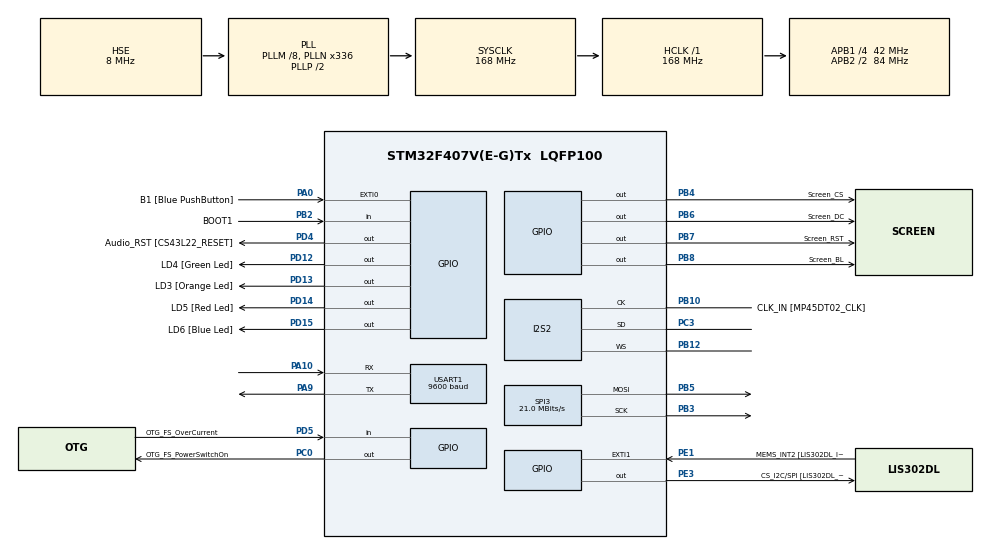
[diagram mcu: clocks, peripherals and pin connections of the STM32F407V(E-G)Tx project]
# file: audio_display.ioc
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Dma.Request0=SPI2_RX
Dma.Request1=SPI3_TX
Dma.SPI2_RX.0.Direction=DMA_PERIPH_TO_MEMORY
Dma.SPI2_RX.0.FIFOMode=DMA_FIFOMODE_DISABLE
Dma.SPI2_RX.0.Instance=DMA1_Stream3
Dma.SPI2_RX.0.MemDataAlignment=DMA_MDATAALIGN_BYTE
Dma.SPI2_RX.0.MemInc=DMA_MINC_ENABLE
Dma.SPI2_RX.0.Mode=DMA_CIRCULAR
Dma.SPI2_RX.0.PeriphDataAlignment=DMA_PDATAALIGN_BYTE
Dma.SPI2_RX.0.PeriphInc=DMA_PINC_DISABLE
Dma.SPI2_RX.0.Priority=DMA_PRIORITY_LOW
Dma.SPI3_TX.1.Direction=DMA_MEMORY_TO_PERIPH
Dma.SPI3_TX.1.FIFOMode=DMA_FIFOMODE_DISABLE
Dma.SPI3_TX.1.Instance=DMA1_Stream5
Dma.SPI3_TX.1.MemDataAlignment=DMA_MDATAALIGN_HALFWORD
Dma.SPI3_TX.1.MemInc=DMA_MINC_ENABLE
Dma.SPI3_TX.1.Mode=DMA_NORMAL
Dma.SPI3_TX.1.PeriphDataAlignment=DMA_PDATAALIGN_HALFWORD
Dma.SPI3_TX.1.PeriphInc=DMA_PINC_DISABLE
Dma.SPI3_TX.1.Priority=DMA_PRIORITY_LOW
FREERTOS.Tasks01=defaultTask,24,128,StartDefaultTask,Default,NULL,Dynamic,NULL,NULL
FREERTOS.configUSE_NEWLIB_REENTRANT=1
I2S2.CPOL=I2S_CPOL_HIGH
I2S2.ErrorAudioFreq=0.0 %
I2S2.FullDuplexMode=I2S_FULLDUPLEXMODE_DISABLE
I2S2.Instance=SPI$Index
I2S2.Mode=I2S_MODE_MASTER_RX
I2S2.RealAudioFreq=8.0 KHz
I2S2.Standard=I2S_STANDARD_PHILIPS
I2S2.VirtualMode=I2S_MODE_MASTER
Mcu.Family=STM32F4
Mcu.Name=STM32F407V(E-G)Tx
Mcu.Package=LQFP100
NVIC.DMA1_Stream3_IRQn=true\:5\:0\:false\:false\:true\:true\:false\:true\:true
NVIC.DMA1_Stream5_IRQn=true\:5\:0\:false\:false\:true\:true\:false\:true\:true
NVIC.PriorityGroup=NVIC_PRIORITYGROUP_4
NVIC.SPI2_IRQn=true\:5\:0\:false\:false\:true\:true\:true\:true\:true
NVIC.SPI3_IRQn=true\:5\:0\:false\:false\:true\:true\:true\:true\:true
NVIC.TIM6_DAC_IRQn=true\:15\:0\:false\:false\:true\:false\:false\:true\:true
NVIC.TimeBase=TIM6_DAC_IRQn
NVIC.TimeBaseIP=TIM6
PA0-WKUP.GPIO_Label=B1 [Blue PushButton]
PA0-WKUP.GPIO_ModeDefaultEXTI=GPIO_MODE_EVT_RISING
PA0-WKUP.GPIO_PuPd=GPIO_NOPULL
PA0-WKUP.Signal=GPXTI0
PA10.Mode=Asynchronous
PA10.Signal=USART1_RX
PA13.GPIO_Label=SWDIO
PA13.Mode=Serial_Wire
PA13.Signal=SYS_JTMS-SWDIO
PA14.GPIO_Label=SWCLK
PA14.Mode=Serial_Wire
PA14.Signal=SYS_JTCK-SWCLK
PA4.GPIO_Label=I2S3_WS [CS43L22_LRCK]
PA4.GPIO_Mode=GPIO_MODE_AF_PP
PA4.GPIO_PuPd=GPIO_NOPULL
PA4.GPIO_Speed=GPIO_SPEED_FREQ_LOW
PA4.Signal=I2S3_WS
PA9.Mode=Asynchronous
PA9.Signal=USART1_TX
PB10.GPIO_Label=CLK_IN [MP45DT02_CLK]
PB10.GPIO_Mode=GPIO_MODE_AF_PP
PB10.GPIO_PuPd=GPIO_NOPULL
PB10.GPIO_Speed=GPIO_SPEED_FREQ_LOW
PB10.Mode=Half_Duplex_Master
PB10.Signal=I2S2_CK
PB12.Mode=Half_Duplex_Master
PB12.Signal=I2S2_WS
PB2.GPIO_Label=BOOT1
PB2.GPIO_Mode=GPIO_MODE_INPUT
PB2.GPIO_PuPd=GPIO_NOPULL
PB2.Signal=GPIO_Input
PB3.Mode=TX_Only_Simplex_Unidirect_Master
PB3.Signal=SPI3_SCK
PB4.GPIO_Label=Screen_CS
PB4.Signal=GPIO_Output
PB5.Mode=TX_Only_Simplex_Unidirect_Master
PB5.Signal=SPI3_MOSI
PB6.GPIO_Label=Screen_DC
PB6.Signal=GPIO_Output
PB7.GPIO_Label=Screen_RST
PB7.Signal=GPIO_Output
PB8.GPIO_Label=Screen_BL
PB8.Signal=GPIO_Output
PC0.GPIO_Label=OTG_FS_PowerSwitchOn
PC0.GPIO_PuPd=GPIO_NOPULL
PC0.GPIO_Speed=GPIO_SPEED_FREQ_LOW
PC0.PinState=GPIO_PIN_SET
PC0.Signal=GPIO_Output
PC10.GPIO_Label=I2S3_SCK [CS43L22_SCLK]
PC10.GPIO_Mode=GPIO_MODE_AF_PP
PC10.GPIO_PuPd=GPIO_NOPULL
PC10.GPIO_Speed=GPIO_SPEED_FREQ_LOW
PC10.Signal=I2S3_CK
PC12.GPIO_Label=I2S3_SD [CS43L22_SDIN]
PC12.GPIO_Mode=GPIO_MODE_AF_PP
PC12.GPIO_PuPd=GPIO_NOPULL
PC12.GPIO_Speed=GPIO_SPEED_FREQ_LOW
PC12.Signal=I2S3_SD
PC14-OSC32_IN.GPIO_Label=PC14-OSC32_IN
PC14-OSC32_IN.Mode=LSE-External-Oscillator
PC14-OSC32_IN.Signal=RCC_OSC32_IN
PC15-OSC32_OUT.GPIO_Label=PC15-OSC32_OUT
PC15-OSC32_OUT.Mode=LSE-External-Oscillator
PC15-OSC32_OUT.Signal=RCC_OSC32_OUT
PC3.Mode=Half_Duplex_Master
PC3.Signal=I2S2_SD
PC7.GPIO_Label=I2S3_MCK [CS43L22_MCLK]
PC7.GPIO_Mode=GPIO_MODE_AF_PP
PC7.GPIO_PuPd=GPIO_NOPULL
PC7.GPIO_Speed=GPIO_SPEED_FREQ_LOW
PC7.Signal=I2S3_MCK
PD12.GPIO_Label=LD4 [Green Led]
PD12.GPIO_PuPd=GPIO_NOPULL
PD12.GPIO_Speed=GPIO_SPEED_FREQ_LOW
PD12.Signal=GPIO_Output
PD13.GPIO_Label=LD3 [Orange Led]
PD13.GPIO_PuPd=GPIO_NOPULL
PD13.GPIO_Speed=GPIO_SPEED_FREQ_LOW
PD13.Signal=GPIO_Output
PD14.GPIO_Label=LD5 [Red Led]
PD14.GPIO_PuPd=GPIO_NOPULL
PD14.GPIO_Speed=GPIO_SPEED_FREQ_LOW
PD14.Signal=GPIO_Output
PD15.GPIO_Label=LD6 [Blue Led]
PD15.GPIO_PuPd=GPIO_NOPULL
PD15.GPIO_Speed=GPIO_SPEED_FREQ_LOW
PD15.Signal=GPIO_Output
PD4.GPIO_Label=Audio_RST [CS43L22_RESET]
PD4.GPIO_PuPd=GPIO_NOPULL
PD4.GPIO_Speed=GPIO_SPEED_FREQ_LOW
PD4.Signal=GPIO_Output
PD5.GPIO_Label=OTG_FS_OverCurrent
PD5.GPIO_Mode=GPIO_MODE_INPUT
PD5.GPIO_PuPd=GPIO_NOPULL
PD5.Signal=GPIO_Input
PDM2PCM.CHANNEL1_in_ptr_channels=1
PDM2PCM.CHANNEL1_out_ptr_channels=1
PDM2PCM.CHANNEL1_output_samples_number=32
PE1.GPIO_Label=MEMS_INT2 [LIS302DL_INT2]
PE1.GPIO_ModeDefaultEXTI=GPIO_MODE_EVT_RISING
PE1.GPIO_PuPd=GPIO_NOPULL
PE1.Signal=GPXTI1
PE3.GPIO_Label=CS_I2C/SPI [LIS302DL_CS_I2C/SPI]
PE3.GPIO_PuPd=GPIO_NOPULL
PE3.GPIO_Speed=GPIO_SPEED_FREQ_LOW
PE3.Signal=GPIO_Output
PH0-OSC_IN.GPIO_Label=PH0-OSC_IN
PH0-OSC_IN.Mode=HSE-External-Oscillator
PH0-OSC_IN.Signal=RCC_OSC_IN
PH1-OSC_OUT.GPIO_Label=PH1-OSC_OUT
PH1-OSC_OUT.Mode=HSE-External-Oscillator
PH1-OSC_OUT.Signal=RCC_OSC_OUT
ProjectManager.HeapSize=0x200
ProjectManager.StackSize=0x400
ProjectManager.TargetToolchain=STM32CubeIDE
RCC.48MHZClocksFreq_Value=48000000
RCC.AHBFreq_Value=168000000
RCC.APB1CLKDivider=RCC_HCLK_DIV4
RCC.APB1Freq_Value=42000000
RCC.APB1TimFreq_Value=84000000
RCC.APB2CLKDivider=RCC_HCLK_DIV2
RCC.APB2Freq_Value=84000000
RCC.APB2TimFreq_Value=168000000
RCC.CortexFreq_Value=168000000
RCC.HCLKFreq_Value=168000000
RCC.HSE_VALUE=8000000
RCC.HSI_VALUE=16000000
RCC.PLLM=8
RCC.PLLN=336
RCC.PLLQ=7
RCC.PLLSourceVirtual=RCC_PLLSOURCE_HSE
RCC.SYSCLKFreq_VALUE=168000000
RCC.SYSCLKSource=RCC_SYSCLKSOURCE_PLLCLK
RCC.VCOOutputFreq_Value=336000000
SPI3.BaudRatePrescaler=SPI_BAUDRATEPRESCALER_2
SPI3.CalculateBaudRate=21.0 MBits/s
SPI3.DataSize=SPI_DATASIZE_8BIT
SPI3.Direction=SPI_DIRECTION_2LINES
SPI3.Mode=SPI_MODE_MASTER
SPI3.VirtualType=VM_MASTER
USART1.BaudRate=9600
USART1.VirtualMode=VM_ASYNC
VP_CRC_VS_CRC.Mode=CRC_Activate
VP_FREERTOS_VS_CMSIS_V2.Mode=CMSIS_V2
VP_PDM2PCM_VS_PDM2PCM.Mode=PDM2PCM_Channel
VP_SYS_VS_tim6.Mode=TIM6
board=STM32F407G-DISC1

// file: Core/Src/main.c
/* USER CODE BEGIN Header */
//https://github.com/wjklimek1/ILI9341_DMA_library
/**
  ******************************************************************************
  * @file           : main.c
  * @brief          : Main program body
  ******************************************************************************
  * @attention
  *
  * Copyright (c) 2026 STMicroelectronics.
  * All rights reserved.
  *
  * This software is licensed under terms that can be found in the LICENSE file
  * in the root directory of this software component.
  * If no LICENSE file comes with this software, it is provided AS-IS.
  *
  ******************************************************************************
  */
/* USER CODE END Header */
#include "main.h"
#include "cmsis_os.h"
#include "crc.h"
#include "dma.h"
#include "i2s.h"
#include "pdm2pcm.h"
#include "spi.h"
#include "usart.h"
#include "gpio.h"

/* USER CODE BEGIN Includes */
#include "stdio.h"
#include "ILI9341_DMA_Driver.h"
#include "arm_math.h"
/* USER CODE END Includes */

void SystemClock_Config(void);
void MX_FREERTOS_Init(void);

/* USER CODE BEGIN 0 */
//base color and line color
uint16_t BASE_COLOR = YELLOW;
uint16_t DISPLAY_COLOR = BLUE;
//TASK HANDLES
//a task to send output to the screen
TaskHandle_t xScreenTaskHandle = NULL;
//a task to communicate with the phone via bluetooth
TaskHandle_t xBTTaskHandle     = NULL;
//a task to read sensor outputs
TaskHandle_t xDataProcessHandle  = NULL;

//PDM T PCMS
extern PDM_Filter_Handler_t PDM1_filter_handler;

//SAMPLE BUFFER
#define MIC_PDM_BUFFER_TOTAL 128
#define MIC_PCM_BUFFER_TOTAL 512 //MIC_BUFFER_TOTAL / 16
volatile uint16_t pdmBuffer[MIC_PDM_BUFFER_TOTAL];
volatile int16_t pcmBuffer[MIC_PCM_BUFFER_TOTAL];
uint32_t pcmBufferNext = 0; //where to write samples next

//current mode of display (https://huggingface.co/learn/audio-course/chapter1/audio_data)
//https://source-separation.github.io/tutorial/basics/representations.html
enum display_mode_enum {SPECTOGRAM, //same as frequency bars but with range
						WAVEFORM, //sound as waveform
						FREQUENCY_BARS, //split audio into frequence ranges and show the energy in each range as a bar
						OCTAVE_BANDS, //musical octaves rather than frequency bars
						STOP};
volatile enum display_mode_enum display_mode = WAVEFORM;

//waveform settings and values
volatile uint32_t waveWaitSamples = 512; //48000/1000 = 48Hz
volatile uint32_t waveAmp = 70;
volatile int16_t minSample = INT16_MAX;
volatile int16_t maxSample = INT16_MIN;
volatile uint32_t sampleCount = 0;
volatile uint16_t screenPtr = 0;
volatile uint16_t dmaBufCol[ILI_SCREEN_HEIGHT];

//bluetooth variables
#define UART_BUFFER_SIZE 1
uint8_t UART2_rxBuffer[UART_BUFFER_SIZE];

//INTERRUPT HANDLERS

//SPI DMA interrupt
void HAL_SPI_TxCpltCallback(SPI_HandleTypeDef *hspi) {
	if (hspi->Instance == ILI_SPI_HANDLE.Instance) {
		ILI_DMA_Callback();
	}
}

//I2S DMA interrupt
void HAL_I2S_RxCpltCallback(I2S_HandleTypeDef *hi2s) {
	BaseType_t xHigherPriorityTaskWoken = pdFALSE;
	/* Cast pointer to uint32_t and send as notification value */
	xTaskNotifyFromISR(xDataProcessHandle,
	                   (uint32_t)&pdmBuffer[MIC_PDM_BUFFER_TOTAL/2],        /* first half pointer */
	                   eSetValueWithOverwrite,
	                   &xHigherPriorityTaskWoken);
	portYIELD_FROM_ISR(xHigherPriorityTaskWoken);
}

void HAL_I2S_RxHalfCpltCallback(I2S_HandleTypeDef *hi2s) {
	BaseType_t xHigherPriorityTaskWoken = pdFALSE;
		/* Cast pointer to uint32_t and send as notification value */
		xTaskNotifyFromISR(xDataProcessHandle,
		                   (uint32_t)&pdmBuffer[0],        /* first half pointer */
		                   eSetValueWithOverwrite,
		                   &xHigherPriorityTaskWoken);
		portYIELD_FROM_ISR(xHigherPriorityTaskWoken);
}

//task functions
void dataProcessTask(void * pvParameters ) {
	uint32_t ulNotifiedValue;
	while(1) {
		//wait for the data
		xTaskNotifyWait(0, 0xFFFFFFFF, &ulNotifiedValue, portMAX_DELAY);
		//process the data
		printf("data received, the address of the array is %d \n", ulNotifiedValue);
		//convert pdm to pcm for further analysis and buffer it
		//uint16_t pcmBuff[32];
		PDM_Filter((uint8_t *)ulNotifiedValue, &pcmBuffer[pcmBufferNext], &PDM1_filter_handler);
		//reset min/max
		//iterate over all newly received samples
		for (int i = 0; i < 32; i++) {
			if (pcmBuffer[pcmBufferNext + i] < minSample) {
				minSample = pcmBuffer[pcmBufferNext + i];
			} else if (pcmBuffer[pcmBufferNext + i] > maxSample) {
				maxSample = pcmBuffer[pcmBufferNext + i];
			}
		}
		//update PCM buffer index
		pcmBufferNext = (pcmBufferNext + 32) % MIC_PCM_BUFFER_TOTAL;
		//now, find min/max values for the buffer
		sampleCount += 32;
		if (sampleCount == waveWaitSamples) {
			sampleCount = 0; //update the sample count
			//wake up the screen task
			xTaskNotify(xScreenTaskHandle, 0, eSetValueWithOverwrite);
		}
	}
}

//convert from -32,768 to 32,767 range to 0-320 range
uint16_t pcmToLCD(int16_t pcm, uint32_t waveAmp) {
	uint32_t usable = 240 * waveAmp / 100;
	uint32_t offset = (240 - usable) / 2;
	return (uint16_t)(((int32_t)pcm + 32768) * usable / 65535 + offset);
}

//shift the screen leftwards
void shiftLeft() {
	screenPtr = (screenPtr + 1) % 320; //update the VSP
	ILI_Write_Command(0x37);
	ILI_Write_Data((uint8_t)((screenPtr >> 8) & 0xFF)); //first half of VSP
	ILI_Write_Data((uint8_t)((screenPtr) & 0xFF)); //second half of VSP
}

void drawWave(uint16_t minLCD, uint16_t maxLCD) {
	//first, shift the screen buffer
	shiftLeft();
	//clear and draw the column
	uint16_t colAddr = (screenPtr + 319) % 320;
	for (int i = 0; i < ILI_SCREEN_HEIGHT; i++) {
		if ((i >= minLCD) && (i <= maxLCD)) {
			dmaBufCol[i] = DISPLAY_COLOR;
		} else {
			dmaBufCol[i] = BASE_COLOR;
		}
	}
	ILI_Set_Address(colAddr, 0, 1, 240); //clear the whole column
	ILI_DMA_Load(dmaBufCol);
	//ILI_DMA_Fill(BASE_COLOR);
	//display the column
	//ILI_Set_Address(colAddr, minLCD, 1, maxLCD - minLCD); //rewrite the column
	//ILI_DMA_Fill(DISPLAY_COLOR);
}

void screenTask(void * pvParameters ) {
	uint32_t ulNotifiedValue;
	while(1) {
		//https://huggingface.co/learn/audio-course/chapter1/audio_data
		//wait for the data
		xTaskNotifyWait(0, 0xFFFFFFFF, &ulNotifiedValue, portMAX_DELAY);
		//process the data
		switch (display_mode) {
			case SPECTOGRAM:
				break;
			case WAVEFORM:
				uint16_t minLCD = pcmToLCD(minSample, waveAmp);
				uint16_t maxLCD = pcmToLCD(maxSample, waveAmp);
				drawWave(minLCD, maxLCD);
				break;
			case FREQUENCY_BARS:
				break;
			case OCTAVE_BANDS:
				break;
			case STOP:
				break;
			default:
		}
		minSample = INT16_MAX; //greatest possible value
		maxSample = INT16_MIN;
		printf("data displayed\n");
	}
}

void btTask(void *pvParameters) {
	while(1) {

	}
}

/* USER CODE END 0 */

int main(void)
{

  /* MCU Configuration--------------------------------------------------------*/

  /* Reset of all peripherals, Initializes the Flash interface and the Systick. */
  HAL_Init();

  /* Configure the system clock */
  SystemClock_Config();

  /* Initialize all configured peripherals */
  MX_GPIO_Init();
  MX_DMA_Init();
  MX_I2S2_Init();
  MX_SPI3_Init();
  MX_USART1_UART_Init();
  MX_CRC_Init();
  MX_PDM2PCM_Init();
  /* USER CODE BEGIN 2 */
  //turn on the screen
  HAL_GPIO_WritePin(Screen_BL_GPIO_Port, Screen_BL_Pin, GPIO_PIN_SET);
  //init screen
  ILI_Init();
  //set rotation
  //ILI_Set_Rotation(SCREEN_HORIZONTAL_2);
  //fill it with the default color
  ILI_DMA_Fill(BASE_COLOR);
  //test
  //clear and draw the column
  //while(ILI_DMA_Busy());
  //uint16_t colAddr = (screenPtr + 319) % 320;
  //uint16_t dmaBuf[ILI_SCREEN_HEIGHT];
  //for (int i = 0; i < ILI_SCREEN_HEIGHT; i++) {
  	//if ((i >= 10) && (i <= 200)) {
  		//dmaBuf[i] = DISPLAY_COLOR;
  	//} else {
  		//	dmaBuf[i] = BASE_COLOR;
  		//}
  	//}
  	//ILI_Set_Address(10, 0, 1, 240); //clear the whole column
  	//ILI_DMA_Load(dmaBuf);
  //first DMA transfer (uncomment later)
  HAL_I2S_Receive_DMA(&hi2s2, pdmBuffer, MIC_PDM_BUFFER_TOTAL);
  //create tasks
  //bluetooth listen
  HAL_UART_Receive_IT(&huart1, UART2_rxBuffer, UART_BUFFER_SIZE);
  //tasks
  BaseType_t xReturned;
  /* Create the task, storing the handle. */
  xReturned = xTaskCreate(
              dataProcessTask,       /* Function that implements the task. */
              "data_proc_task",          /* Text name for the task. */
              2048,      /* Stack size in words, not bytes. */
              ( void * ) NULL,    /* Parameter passed into the task. */
              2,/* Priority at which the task is created. */
              &xDataProcessHandle);      /* Used to pass out the created task's handle. */
  xReturned = xTaskCreate(
                screenTask,       /* Function that implements the task. */
                "screen_update_task",          /* Text name for the task. */
                1024,      /* Stack size in words, not bytes. */
                ( void * ) NULL,    /* Parameter passed into the task. */
                3,/* Priority at which the task is created. */
                &xScreenTaskHandle);      /* Used to pass out the created task's handle. */
  xReturned = xTaskCreate(btTask,
		  	  	  	  	  "blt_task",
		  	  	  	  	  512,
						  (void*)NULL,
						  1,
						  &xBTTaskHandle);
    vTaskStartScheduler();
  /* USER CODE END 2 */

  /* We should never get here as control is now taken by the scheduler */

  /* Infinite loop */
  while (1)
  {

  }
}

void SystemClock_Config(void)
{
  RCC_OscInitTypeDef RCC_OscInitStruct = {0};
  RCC_ClkInitTypeDef RCC_ClkInitStruct = {0};

  /** Configure the main internal regulator output voltage
  */
  __HAL_RCC_PWR_CLK_ENABLE();
  __HAL_PWR_VOLTAGESCALING_CONFIG(PWR_REGULATOR_VOLTAGE_SCALE1);

  /** Initializes the RCC Oscillators according to the specified parameters
  * in the RCC_OscInitTypeDef structure.
  */
  RCC_OscInitStruct.OscillatorType = RCC_OSCILLATORTYPE_HSE;
  RCC_OscInitStruct.HSEState = RCC_HSE_ON;
  RCC_OscInitStruct.PLL.PLLState = RCC_PLL_ON;
  RCC_OscInitStruct.PLL.PLLSource = RCC_PLLSOURCE_HSE;
  RCC_OscInitStruct.PLL.PLLM = 8;
  RCC_OscInitStruct.PLL.PLLN = 336;
  RCC_OscInitStruct.PLL.PLLP = RCC_PLLP_DIV2;
  RCC_OscInitStruct.PLL.PLLQ = 7;
  if (HAL_RCC_OscConfig(&RCC_OscInitStruct) != HAL_OK)
  {
    Error_Handler();
  }

  /** Initializes the CPU, AHB and APB buses clocks
  */
  RCC_ClkInitStruct.ClockType = RCC_CLOCKTYPE_HCLK|RCC_CLOCKTYPE_SYSCLK
                              |RCC_CLOCKTYPE_PCLK1|RCC_CLOCKTYPE_PCLK2;
  RCC_ClkInitStruct.SYSCLKSource = RCC_SYSCLKSOURCE_PLLCLK;
  RCC_ClkInitStruct.AHBCLKDivider = RCC_SYSCLK_DIV1;
  RCC_ClkInitStruct.APB1CLKDivider = RCC_HCLK_DIV4;
  RCC_ClkInitStruct.APB2CLKDivider = RCC_HCLK_DIV2;

  if (HAL_RCC_ClockConfig(&RCC_ClkInitStruct, FLASH_LATENCY_5) != HAL_OK)
  {
    Error_Handler();
  }
}

void HAL_TIM_PeriodElapsedCallback(TIM_HandleTypeDef *htim)
{
  if (htim->Instance == TIM6)
  {
    HAL_IncTick();
  }
}

void Error_Handler(void)
{
  __disable_irq();
  while (1)
  {
  }
}
